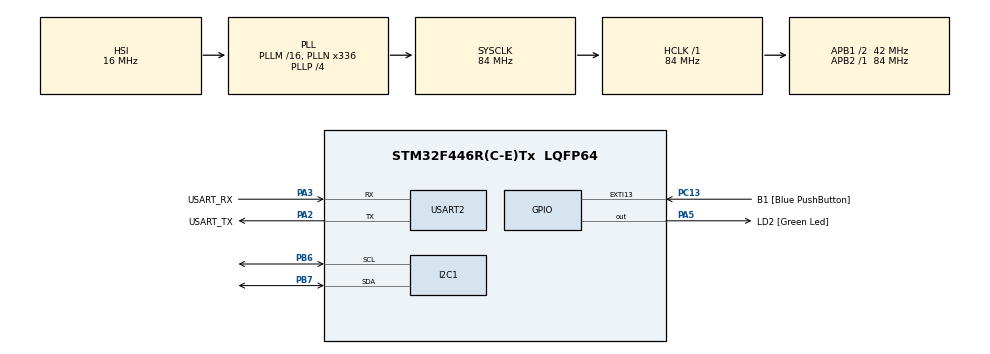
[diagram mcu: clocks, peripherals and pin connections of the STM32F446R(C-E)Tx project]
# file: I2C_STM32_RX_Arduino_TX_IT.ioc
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Mcu.Family=STM32F4
Mcu.Name=STM32F446R(C-E)Tx
Mcu.Package=LQFP64
NVIC.I2C1_EV_IRQn=true\:0\:0\:false\:false\:true\:true\:true\:true
NVIC.PriorityGroup=NVIC_PRIORITYGROUP_0
PA13.GPIO_Label=TMS
PA13.Mode=Serial_Wire
PA13.Signal=SYS_JTMS-SWDIO
PA14.GPIO_Label=TCK
PA14.Mode=Serial_Wire
PA14.Signal=SYS_JTCK-SWCLK
PA2.GPIO_Label=USART_TX
PA2.Mode=Asynchronous
PA2.Signal=USART2_TX
PA3.GPIO_Label=USART_RX
PA3.Mode=Asynchronous
PA3.Signal=USART2_RX
PA5.GPIO_Label=LD2 [Green Led]
PA5.Signal=GPIO_Output
PB3.GPIO_Label=SWO
PB3.Signal=SYS_JTDO-SWO
PB6.Mode=I2C
PB6.Signal=I2C1_SCL
PB7.Mode=I2C
PB7.Signal=I2C1_SDA
PC13.GPIO_Label=B1 [Blue PushButton]
PC13.GPIO_ModeDefaultEXTI=GPIO_MODE_IT_FALLING
PC13.Signal=GPXTI13
PC14-OSC32_IN.Mode=LSE-External-Oscillator
PC14-OSC32_IN.Signal=RCC_OSC32_IN
PC15-OSC32_OUT.Mode=LSE-External-Oscillator
PC15-OSC32_OUT.Signal=RCC_OSC32_OUT
PH0-OSC_IN.Mode=HSE-External-Oscillator
PH0-OSC_IN.Signal=RCC_OSC_IN
PH1-OSC_OUT.Mode=HSE-External-Oscillator
PH1-OSC_OUT.Signal=RCC_OSC_OUT
ProjectManager.HeapSize=0x200
ProjectManager.StackSize=0x400
ProjectManager.TargetToolchain=STM32CubeIDE
RCC.48MHZClocksFreq_Value=84000000
RCC.AHBFreq_Value=84000000
RCC.APB1CLKDivider=RCC_HCLK_DIV2
RCC.APB1Freq_Value=42000000
RCC.APB1TimFreq_Value=84000000
RCC.APB2Freq_Value=84000000
RCC.APB2TimFreq_Value=84000000
RCC.CortexFreq_Value=84000000
RCC.FLatency-AdvancedSettings=FLASH_LATENCY_2
RCC.HCLKFreq_Value=84000000
RCC.HSE_VALUE=8000000
RCC.HSI_VALUE=16000000
RCC.PLLN=336
RCC.PLLP=RCC_PLLP_DIV4
RCC.SYSCLKFreq_VALUE=84000000
RCC.SYSCLKSource=RCC_SYSCLKSOURCE_PLLCLK
RCC.USBFreq_Value=168000000
RCC.VCOOutputFreq_Value=336000000
USART2.VirtualMode=VM_ASYNC
board=NUCLEO-F446RE

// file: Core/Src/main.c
/* USER CODE BEGIN Header */
/**
  ******************************************************************************
  * @file           : main.c
  * @brief          : Main program body
  ******************************************************************************
  * @attention
  *
  * Copyright (c) 2023 STMicroelectronics.
  * All rights reserved.
  *
  * This software is licensed under terms that can be found in the LICENSE file
  * in the root directory of this software component.
  * If no LICENSE file comes with this software, it is provided AS-IS.
  *
  ******************************************************************************
  */
/* USER CODE END Header */
#include "main.h"

/* USER CODE BEGIN Includes */
#include <string.h>
/* USER CODE END Includes */

/* USER CODE BEGIN PD */
#define BUFFER_MAX_SIZE 23
/* USER CODE END PD */

I2C_HandleTypeDef hi2c1;

UART_HandleTypeDef huart2;

/* USER CODE BEGIN PV */

char RX_BUFFER[BUFFER_MAX_SIZE];
uint8_t counter = 0;
/* USER CODE END PV */

void SystemClock_Config(void);
static void MX_GPIO_Init(void);
static void MX_USART2_UART_Init(void);
static void MX_I2C1_Init(void);

int main(void)
{

  /* MCU Configuration--------------------------------------------------------*/

  /* Reset of all peripherals, Initializes the Flash interface and the Systick. */
  HAL_Init();

  /* Configure the system clock */
  SystemClock_Config();

  /* Initialize all configured peripherals */
  MX_GPIO_Init();
  MX_USART2_UART_Init();
  MX_I2C1_Init();
  /* USER CODE BEGIN 2 */
  HAL_I2C_EnableListen_IT(&hi2c1);
  /* USER CODE END 2 */

  /* Infinite loop */
  while (1)
  {

  }
}

void SystemClock_Config(void)
{
  RCC_OscInitTypeDef RCC_OscInitStruct = {0};
  RCC_ClkInitTypeDef RCC_ClkInitStruct = {0};

  /** Configure the main internal regulator output voltage
  */
  __HAL_RCC_PWR_CLK_ENABLE();
  __HAL_PWR_VOLTAGESCALING_CONFIG(PWR_REGULATOR_VOLTAGE_SCALE3);

  /** Initializes the RCC Oscillators according to the specified parameters
  * in the RCC_OscInitTypeDef structure.
  */
  RCC_OscInitStruct.OscillatorType = RCC_OSCILLATORTYPE_HSI;
  RCC_OscInitStruct.HSIState = RCC_HSI_ON;
  RCC_OscInitStruct.HSICalibrationValue = RCC_HSICALIBRATION_DEFAULT;
  RCC_OscInitStruct.PLL.PLLState = RCC_PLL_ON;
  RCC_OscInitStruct.PLL.PLLSource = RCC_PLLSOURCE_HSI;
  RCC_OscInitStruct.PLL.PLLM = 16;
  RCC_OscInitStruct.PLL.PLLN = 336;
  RCC_OscInitStruct.PLL.PLLP = RCC_PLLP_DIV4;
  RCC_OscInitStruct.PLL.PLLQ = 2;
  RCC_OscInitStruct.PLL.PLLR = 2;
  if (HAL_RCC_OscConfig(&RCC_OscInitStruct) != HAL_OK)
  {
    Error_Handler();
  }

  /** Initializes the CPU, AHB and APB buses clocks
  */
  RCC_ClkInitStruct.ClockType = RCC_CLOCKTYPE_HCLK|RCC_CLOCKTYPE_SYSCLK
                              |RCC_CLOCKTYPE_PCLK1|RCC_CLOCKTYPE_PCLK2;
  RCC_ClkInitStruct.SYSCLKSource = RCC_SYSCLKSOURCE_PLLCLK;
  RCC_ClkInitStruct.AHBCLKDivider = RCC_SYSCLK_DIV1;
  RCC_ClkInitStruct.APB1CLKDivider = RCC_HCLK_DIV2;
  RCC_ClkInitStruct.APB2CLKDivider = RCC_HCLK_DIV1;

  if (HAL_RCC_ClockConfig(&RCC_ClkInitStruct, FLASH_LATENCY_2) != HAL_OK)
  {
    Error_Handler();
  }
}

static void MX_I2C1_Init(void)
{

  hi2c1.Instance = I2C1;
  hi2c1.Init.ClockSpeed = 100000;
  hi2c1.Init.DutyCycle = I2C_DUTYCYCLE_2;
  hi2c1.Init.OwnAddress1 = 0;
  hi2c1.Init.AddressingMode = I2C_ADDRESSINGMODE_7BIT;
  hi2c1.Init.DualAddressMode = I2C_DUALADDRESS_DISABLE;
  hi2c1.Init.OwnAddress2 = 0;
  hi2c1.Init.GeneralCallMode = I2C_GENERALCALL_DISABLE;
  hi2c1.Init.NoStretchMode = I2C_NOSTRETCH_DISABLE;
  if (HAL_I2C_Init(&hi2c1) != HAL_OK)
  {
    Error_Handler();
  }

}

static void MX_USART2_UART_Init(void)
{

  huart2.Instance = USART2;
  huart2.Init.BaudRate = 115200;
  huart2.Init.WordLength = UART_WORDLENGTH_8B;
  huart2.Init.StopBits = UART_STOPBITS_1;
  huart2.Init.Parity = UART_PARITY_NONE;
  huart2.Init.Mode = UART_MODE_TX_RX;
  huart2.Init.HwFlowCtl = UART_HWCONTROL_NONE;
  huart2.Init.OverSampling = UART_OVERSAMPLING_16;
  if (HAL_UART_Init(&huart2) != HAL_OK)
  {
    Error_Handler();
  }

}

static void MX_GPIO_Init(void)
{
  GPIO_InitTypeDef GPIO_InitStruct = {0};

  /* GPIO Ports Clock Enable */
  __HAL_RCC_GPIOC_CLK_ENABLE();
  __HAL_RCC_GPIOH_CLK_ENABLE();
  __HAL_RCC_GPIOA_CLK_ENABLE();
  __HAL_RCC_GPIOB_CLK_ENABLE();

  /*Configure GPIO pin Output Level */
  HAL_GPIO_WritePin(LD2_GPIO_Port, LD2_Pin, GPIO_PIN_RESET);

  /*Configure GPIO pin : B1_Pin */
  GPIO_InitStruct.Pin = B1_Pin;
  GPIO_InitStruct.Mode = GPIO_MODE_IT_FALLING;
  GPIO_InitStruct.Pull = GPIO_NOPULL;
  HAL_GPIO_Init(B1_GPIO_Port, &GPIO_InitStruct);

  /*Configure GPIO pin : LD2_Pin */
  GPIO_InitStruct.Pin = LD2_Pin;
  GPIO_InitStruct.Mode = GPIO_MODE_OUTPUT_PP;
  GPIO_InitStruct.Pull = GPIO_NOPULL;
  GPIO_InitStruct.Speed = GPIO_SPEED_FREQ_LOW;
  HAL_GPIO_Init(LD2_GPIO_Port, &GPIO_InitStruct);

}

/* USER CODE BEGIN 4 */

void HAL_I2C_AddrCallback(I2C_HandleTypeDef *hi2c, uint8_t TransferDirection, uint16_t AddrMatchCode)
{

	if(TransferDirection == I2C_DIRECTION_RECEIVE){

		HAL_I2C_Slave_Receive_IT(hi2c, (uint8_t *)RX_BUFFER, strlen(RX_BUFFER));
	}
  /* Prevent unused argument(s) compilation warning */
  UNUSED(hi2c);
  UNUSED(TransferDirection);
  UNUSED(AddrMatchCode);

  /* NOTE : This function should not be modified, when the callback is needed,
            the HAL_I2C_AddrCallback() could be implemented in the user file
   */
}
void HAL_I2C_SlaveRxCpltCallback(I2C_HandleTypeDef *hi2c)
{
  /* Prevent unused argument(s) compilation warning */

	if(hi2c->Instance == I2C1){

		HAL_UART_Transmit(&huart2, (uint8_t *)RX_BUFFER, strlen(RX_BUFFER), HAL_MAX_DELAY);
		HAL_I2C_Slave_Receive_IT(&hi2c1,(uint8_t *) RX_BUFFER, strlen(RX_BUFFER));
		HAL_GPIO_TogglePin(GPIOA, GPIO_PIN_5);

	}
  UNUSED(hi2c);

  /* NOTE : This function should not be modified, when the callback is needed,
            the HAL_I2C_SlaveRxCpltCallback could be implemented in the user file
   */
}
/* USER CODE END 4 */

void Error_Handler(void)
{
  __disable_irq();
  while (1)
  {
  }
}
